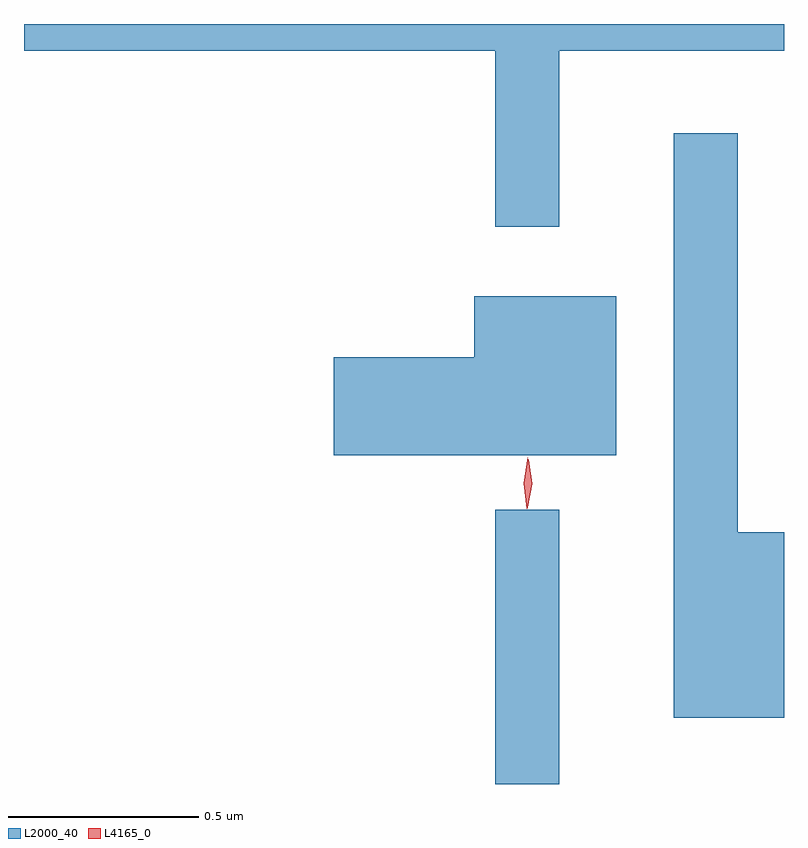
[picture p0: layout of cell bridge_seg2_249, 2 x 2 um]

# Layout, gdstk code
import gdstk
lib = gdstk.Library(unit=1e-6, precision=1e-09)
def R(c, l, rs):  # rectangles x0, y0, x1, y1
    for r in rs: c.add(gdstk.rectangle(r[:2], r[2:], *l))
def P(c, l, *ps):  # polygons
    for p in ps: c.add(gdstk.Polygon(p, *l))
L2000_40 = (2000, 40)
L4165_0 = (4165, 0)

bridge_seg2_249 = lib.new_cell('bridge_seg2_249')
R(bridge_seg2_249, L2000_40, [(598.671,1061.926,598.839,1062.648)])
P(bridge_seg2_249, L2000_40, [(598.839,1063.856),(599.431,1063.856),(599.431,1063.926),(597.431,1063.926),(597.431,1063.856),(598.671,1063.856),(598.671,1063.393),(598.839,1063.393)],
  [(599.431,1062.589),(599.309,1062.589),(599.309,1063.638),(599.141,1063.638),(599.141,1062.101),(599.431,1062.101)],
  [(598.989,1063.209),(598.616,1063.209),(598.616,1063.049),(598.246,1063.049),(598.246,1062.791),(598.989,1062.791)])
P(bridge_seg2_249, L4165_0, [(598.756,1062.653),(598.756,1062.654),(598.748,1062.716),(598.758,1062.779),(598.758,1062.78),(598.759,1062.779),(598.768,1062.716),(598.757,1062.654)],
  [(598.754,1062.65),(598.746,1062.718),(598.756,1062.786),(598.757,1062.786),(598.757,1062.786),(598.766,1062.718),(598.755,1062.65),(598.755,1062.65)])

lib.write_gds('bridge_seg2_249.gds')
